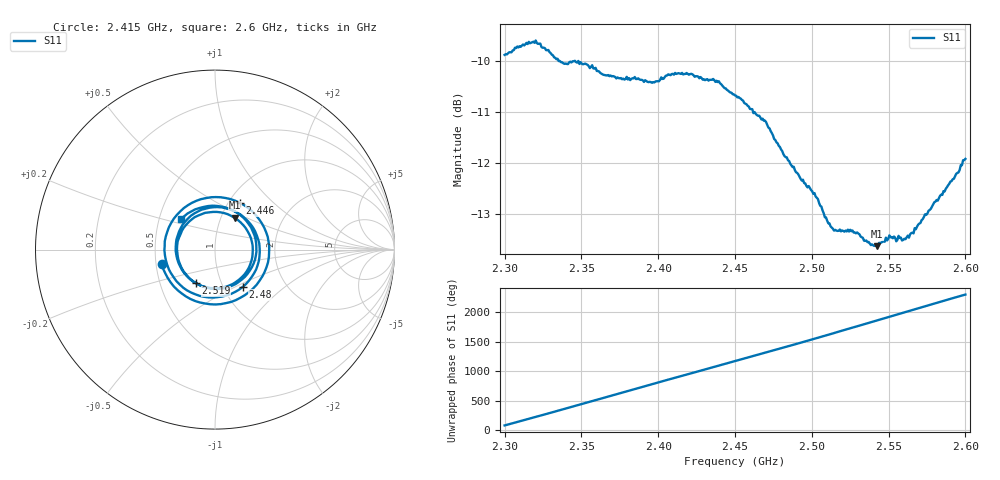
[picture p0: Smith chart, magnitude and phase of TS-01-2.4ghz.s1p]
! NanoVNA-App
! Date: 2026-05-22 18:51:12
! Start: 2.3GHz Stop: 2.6GHz Points: 401
! S-Parameter data: F S11
# Hz S RI R 50
!  Frequency  S11_Real  S11_Imag
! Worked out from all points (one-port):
!   401 points, 2.3 GHz to 2.6 GHz, reference 50 ohm
!   lowest |S11| = -13.6 dB at 2.542 GHz (marker M1), VSWR 1.53, Z = 58 + j21.5 ohm
!   |S11| at or under -10 dB: 2.336157 GHz to 2.344964 GHz (8.807 MHz wide, 0.376 % of centre); 2.34601 GHz to 2.347868 GHz (1.858 MHz wide, 0.0792 % of centre); 2.348 GHz to end of sweep
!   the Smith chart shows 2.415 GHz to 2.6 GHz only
!   S11 on the Smith chart (normalised r, x): 2.415 GHz: 0.54, -0.09; 2.446 GHz: 1.13, +0.64; 2.48 GHz: 1.23, -0.55; 2.519 GHz: 0.76, -0.30; 2.6 GHz: 0.65, +0.23
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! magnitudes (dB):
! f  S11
! 2.3 GHz  -9.9
! 2.32 GHz  -9.6
! 2.337 GHz  -10.0
! 2.346 GHz  -10.0
! 2.358 GHz  -10.1
! 2.365 GHz  -10.3
! 2.375 GHz  -10.3
! 2.397 GHz  -10.4
! 2.413 GHz  -10.2
! 2.415 GHz  -10.2
! 2.437 GHz  -10.4
! 2.446 GHz  -10.6
! 2.45 GHz  -10.7
! 2.47 GHz  -11.2
! 2.48 GHz  -11.7
! 2.487 GHz  -12.1
! 2.502 GHz  -12.7
! 2.512 GHz  -13.2
! 2.515 GHz  -13.3
! 2.519 GHz  -13.3
! 2.525 GHz  -13.3
! 2.539 GHz  -13.6
! 2.542 GHz  -13.6
! 2.552 GHz  -13.5
! 2.559 GHz  -13.5
! 2.562 GHz  -13.4
! 2.583 GHz  -12.6
! 2.6 GHz  -11.9
